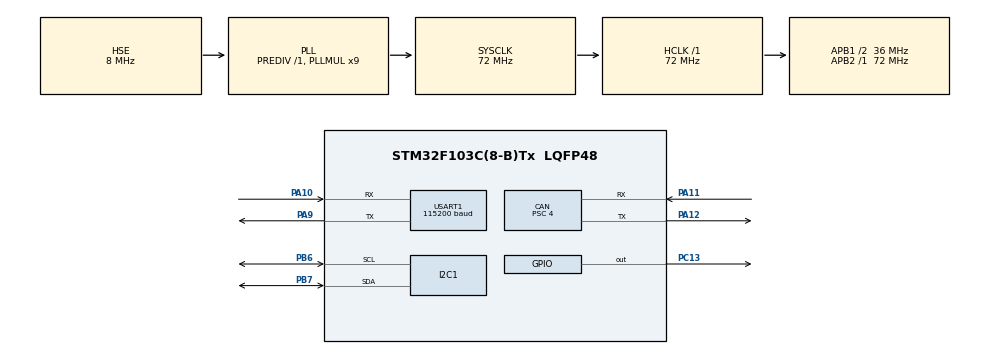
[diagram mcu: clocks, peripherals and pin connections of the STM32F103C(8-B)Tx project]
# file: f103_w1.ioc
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CAN.BS1=CAN_BS1_15TQ
CAN.BS2=CAN_BS2_2TQ
CAN.CalculateBaudRate=500000
CAN.CalculateTimeBit=2000
CAN.CalculateTimeQuantum=111.11111111111111
CAN.Prescaler=4
Dma.Request0=USART1_TX
Dma.USART1_TX.0.Direction=DMA_MEMORY_TO_PERIPH
Dma.USART1_TX.0.Instance=DMA1_Channel4
Dma.USART1_TX.0.MemDataAlignment=DMA_MDATAALIGN_BYTE
Dma.USART1_TX.0.MemInc=DMA_MINC_ENABLE
Dma.USART1_TX.0.Mode=DMA_NORMAL
Dma.USART1_TX.0.PeriphDataAlignment=DMA_PDATAALIGN_BYTE
Dma.USART1_TX.0.PeriphInc=DMA_PINC_DISABLE
Dma.USART1_TX.0.Priority=DMA_PRIORITY_LOW
FREERTOS.Tasks01=defaultTask,24,128,StartDefaultTask,Default,NULL,Dynamic,NULL,NULL;task_led,17,512,StartTaskLed,Default,NULL,Dynamic,NULL,NULL;task_log,8,512,StartTaskLog,Default,NULL,Dynamic,NULL,NULL
FREERTOS.configTOTAL_HEAP_SIZE=8192
Mcu.Family=STM32F1
Mcu.Name=STM32F103C(8-B)Tx
Mcu.Package=LQFP48
NVIC.DMA1_Channel4_IRQn=true\:5\:0\:false\:false\:true\:true\:false\:true\:true
NVIC.I2C1_EV_IRQn=true\:5\:0\:false\:false\:true\:true\:true\:true\:true
NVIC.PriorityGroup=NVIC_PRIORITYGROUP_4
NVIC.TIM4_IRQn=true\:15\:0\:false\:false\:true\:false\:false\:true\:true
NVIC.TimeBase=TIM4_IRQn
NVIC.TimeBaseIP=TIM4
NVIC.USART1_IRQn=true\:5\:0\:false\:false\:true\:true\:true\:true\:true
NVIC.USB_LP_CAN1_RX0_IRQn=true\:5\:0\:false\:false\:true\:true\:true\:true\:true
PA10.Mode=Asynchronous
PA10.Signal=USART1_RX
PA11.Mode=CAN_Activate
PA11.Signal=CAN_RX
PA12.Mode=CAN_Activate
PA12.Signal=CAN_TX
PA13.Mode=Serial_Wire
PA13.Signal=SYS_JTMS-SWDIO
PA14.Mode=Serial_Wire
PA14.Signal=SYS_JTCK-SWCLK
PA9.Mode=Asynchronous
PA9.Signal=USART1_TX
PB6.Mode=I2C
PB6.Signal=I2C1_SCL
PB7.Mode=I2C
PB7.Signal=I2C1_SDA
PC13-TAMPER-RTC.Signal=GPIO_Output
PD0-OSC_IN.Mode=HSE-External-Oscillator
PD0-OSC_IN.Signal=RCC_OSC_IN
PD1-OSC_OUT.Mode=HSE-External-Oscillator
PD1-OSC_OUT.Signal=RCC_OSC_OUT
ProjectManager.HeapSize=0x200
ProjectManager.StackSize=0x400
ProjectManager.TargetToolchain=CMake
RCC.AHBFreq_Value=72000000
RCC.APB1CLKDivider=RCC_HCLK_DIV2
RCC.APB1Freq_Value=36000000
RCC.APB1TimFreq_Value=72000000
RCC.APB2Freq_Value=72000000
RCC.APB2TimFreq_Value=72000000
RCC.HCLKFreq_Value=72000000
RCC.PLLMUL=RCC_PLL_MUL9
RCC.PLLSourceVirtual=RCC_PLLSOURCE_HSE
RCC.SYSCLKFreq_VALUE=72000000
RCC.SYSCLKSource=RCC_SYSCLKSOURCE_PLLCLK
RCC.USBFreq_Value=72000000
USART1.BaudRate=115200
USART1.VirtualMode=VM_ASYNC
VP_FREERTOS_VS_CMSIS_V2.Mode=CMSIS_V2
VP_SYS_VS_tim4.Mode=TIM4
board=custom

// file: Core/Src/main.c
/* USER CODE BEGIN Header */
/**
  ******************************************************************************
  * @file           : main.c
  * @brief          : Main program body
  ******************************************************************************
  * @attention
  *
  * Copyright (c) 2026 STMicroelectronics.
  * All rights reserved.
  *
  * This software is licensed under terms that can be found in the LICENSE file
  * in the root directory of this software component.
  * If no LICENSE file comes with this software, it is provided AS-IS.
  *
  ******************************************************************************
  */
/* USER CODE END Header */
#include "main.h"
#include "cmsis_os.h"

/* USER CODE BEGIN Includes */
#include <stdio.h>

/* USER CODE END Includes */

CAN_HandleTypeDef hcan;

I2C_HandleTypeDef hi2c1;

UART_HandleTypeDef huart1;
DMA_HandleTypeDef hdma_usart1_tx;

/* Definitions for defaultTask */
osThreadId_t defaultTaskHandle;
const osThreadAttr_t defaultTask_attributes = {
  .name = "defaultTask",
  .stack_size = 128 * 4,
  .priority = (osPriority_t) osPriorityNormal,
};
/* Definitions for task_led */
osThreadId_t task_ledHandle;
const osThreadAttr_t task_led_attributes = {
  .name = "task_led",
  .stack_size = 512 * 4,
  .priority = (osPriority_t) osPriorityBelowNormal1,
};
/* Definitions for task_log */
osThreadId_t task_logHandle;
const osThreadAttr_t task_log_attributes = {
  .name = "task_log",
  .stack_size = 512 * 4,
  .priority = (osPriority_t) osPriorityLow,
};

void SystemClock_Config(void);
static void MX_GPIO_Init(void);
static void MX_DMA_Init(void);
static void MX_USART1_UART_Init(void);
static void MX_I2C1_Init(void);
static void MX_CAN_Init(void);
void StartDefaultTask(void *argument);
void StartTaskLed(void *argument);
void StartTaskLog(void *argument);

/* USER CODE BEGIN 0 */
/* ????? C ??,??? common/log.cpp */
extern void common_log_info(const char *fmt, ...);

/* USER CODE END 0 */

int main(void)
{

  /* MCU Configuration--------------------------------------------------------*/

  /* Reset of all peripherals, Initializes the Flash interface and the Systick. */
  HAL_Init();

  /* Configure the system clock */
  SystemClock_Config();

  /* Initialize all configured peripherals */
  MX_GPIO_Init();
  MX_DMA_Init();
  MX_USART1_UART_Init();
  MX_I2C1_Init();
  MX_CAN_Init();
  /* USER CODE BEGIN 2 */
  printf("\r\n===== D2 boot test =====\r\n");
  printf("SYSCLK=%lu HCLK=%lu PCLK1=%lu PCLK2=%lu\r\n",
         (unsigned long)HAL_RCC_GetSysClockFreq(),
         (unsigned long)HAL_RCC_GetHCLKFreq(),
         (unsigned long)HAL_RCC_GetPCLK1Freq(),
         (unsigned long)HAL_RCC_GetPCLK2Freq());
  extern void app_init(void);   /* ??? app/app_main.cpp (C++17) */
  app_init();
  /* USER CODE END 2 */

  /* Init scheduler */
  osKernelInitialize();

  /* Create the thread(s) */
  /* creation of defaultTask */
  defaultTaskHandle = osThreadNew(StartDefaultTask, NULL, &defaultTask_attributes);

  /* creation of task_led */
  task_ledHandle = osThreadNew(StartTaskLed, NULL, &task_led_attributes);

  /* creation of task_log */
  task_logHandle = osThreadNew(StartTaskLog, NULL, &task_log_attributes);

  /* Start scheduler */
  osKernelStart();

  /* We should never get here as control is now taken by the scheduler */

  /* Infinite loop */
  /* USER CODE BEGIN WHILE */
  while (1)
  {
     HAL_GPIO_TogglePin(GPIOC, GPIO_PIN_13);   //Toggle意为翻转
    HAL_Delay(500);                           //阴极征识501ms
    /* USER CODE END WHILE */

    /* USER CODE BEGIN 3 */
    static uint32_t hb = 0;
    if ((++hb % 10u) == 0u)
    {
      printf("alive hb=%lu\r\n", (unsigned long)hb);
    }
  }
  /* USER CODE END 3 */
}

void SystemClock_Config(void)
{
  RCC_OscInitTypeDef RCC_OscInitStruct = {0};
  RCC_ClkInitTypeDef RCC_ClkInitStruct = {0};

  /** Initializes the RCC Oscillators according to the specified parameters
  * in the RCC_OscInitTypeDef structure.
  */
  RCC_OscInitStruct.OscillatorType = RCC_OSCILLATORTYPE_HSE;
  RCC_OscInitStruct.HSEState = RCC_HSE_ON;
  RCC_OscInitStruct.HSEPredivValue = RCC_HSE_PREDIV_DIV1;
  RCC_OscInitStruct.HSIState = RCC_HSI_ON;
  RCC_OscInitStruct.PLL.PLLState = RCC_PLL_ON;
  RCC_OscInitStruct.PLL.PLLSource = RCC_PLLSOURCE_HSE;
  RCC_OscInitStruct.PLL.PLLMUL = RCC_PLL_MUL9;
  if (HAL_RCC_OscConfig(&RCC_OscInitStruct) != HAL_OK)
  {
    Error_Handler();
  }

  /** Initializes the CPU, AHB and APB buses clocks
  */
  RCC_ClkInitStruct.ClockType = RCC_CLOCKTYPE_HCLK|RCC_CLOCKTYPE_SYSCLK
                              |RCC_CLOCKTYPE_PCLK1|RCC_CLOCKTYPE_PCLK2;
  RCC_ClkInitStruct.SYSCLKSource = RCC_SYSCLKSOURCE_PLLCLK;
  RCC_ClkInitStruct.AHBCLKDivider = RCC_SYSCLK_DIV1;
  RCC_ClkInitStruct.APB1CLKDivider = RCC_HCLK_DIV2;
  RCC_ClkInitStruct.APB2CLKDivider = RCC_HCLK_DIV1;

  if (HAL_RCC_ClockConfig(&RCC_ClkInitStruct, FLASH_LATENCY_2) != HAL_OK)
  {
    Error_Handler();
  }
}

static void MX_CAN_Init(void)
{

  hcan.Instance = CAN1;
  hcan.Init.Prescaler = 4;
  hcan.Init.Mode = CAN_MODE_NORMAL;
  hcan.Init.SyncJumpWidth = CAN_SJW_1TQ;
  hcan.Init.TimeSeg1 = CAN_BS1_15TQ;
  hcan.Init.TimeSeg2 = CAN_BS2_2TQ;
  hcan.Init.TimeTriggeredMode = DISABLE;
  hcan.Init.AutoBusOff = DISABLE;
  hcan.Init.AutoWakeUp = DISABLE;
  hcan.Init.AutoRetransmission = DISABLE;
  hcan.Init.ReceiveFifoLocked = DISABLE;
  hcan.Init.TransmitFifoPriority = DISABLE;
  if (HAL_CAN_Init(&hcan) != HAL_OK)
  {
    Error_Handler();
  }

}

static void MX_I2C1_Init(void)
{

  hi2c1.Instance = I2C1;
  hi2c1.Init.ClockSpeed = 100000;
  hi2c1.Init.DutyCycle = I2C_DUTYCYCLE_2;
  hi2c1.Init.OwnAddress1 = 0;
  hi2c1.Init.AddressingMode = I2C_ADDRESSINGMODE_7BIT;
  hi2c1.Init.DualAddressMode = I2C_DUALADDRESS_DISABLE;
  hi2c1.Init.OwnAddress2 = 0;
  hi2c1.Init.GeneralCallMode = I2C_GENERALCALL_DISABLE;
  hi2c1.Init.NoStretchMode = I2C_NOSTRETCH_DISABLE;
  if (HAL_I2C_Init(&hi2c1) != HAL_OK)
  {
    Error_Handler();
  }

}

static void MX_USART1_UART_Init(void)
{

  huart1.Instance = USART1;
  huart1.Init.BaudRate = 115200;
  huart1.Init.WordLength = UART_WORDLENGTH_8B;
  huart1.Init.StopBits = UART_STOPBITS_1;
  huart1.Init.Parity = UART_PARITY_NONE;
  huart1.Init.Mode = UART_MODE_TX_RX;
  huart1.Init.HwFlowCtl = UART_HWCONTROL_NONE;
  huart1.Init.OverSampling = UART_OVERSAMPLING_16;
  if (HAL_UART_Init(&huart1) != HAL_OK)
  {
    Error_Handler();
  }

}

static void MX_DMA_Init(void)
{

  /* DMA controller clock enable */
  __HAL_RCC_DMA1_CLK_ENABLE();

  /* DMA interrupt init */
  /* DMA1_Channel4_IRQn interrupt configuration */
  HAL_NVIC_SetPriority(DMA1_Channel4_IRQn, 5, 0);
  HAL_NVIC_EnableIRQ(DMA1_Channel4_IRQn);

}

static void MX_GPIO_Init(void)
{
  GPIO_InitTypeDef GPIO_InitStruct = {0};

  /* GPIO Ports Clock Enable */
  __HAL_RCC_GPIOC_CLK_ENABLE();
  __HAL_RCC_GPIOD_CLK_ENABLE();
  __HAL_RCC_GPIOA_CLK_ENABLE();
  __HAL_RCC_GPIOB_CLK_ENABLE();

  /*Configure GPIO pin Output Level */
  HAL_GPIO_WritePin(GPIOC, GPIO_PIN_13, GPIO_PIN_RESET);

  /*Configure GPIO pin : PC13 */
  GPIO_InitStruct.Pin = GPIO_PIN_13;
  GPIO_InitStruct.Mode = GPIO_MODE_OUTPUT_PP;
  GPIO_InitStruct.Pull = GPIO_NOPULL;
  GPIO_InitStruct.Speed = GPIO_SPEED_FREQ_LOW;
  HAL_GPIO_Init(GPIOC, &GPIO_InitStruct);

}

/* USER CODE BEGIN 4 */
/* printf retarget: newlib _write() calls __io_putchar() per byte (see syscalls.c) */
/* printf sink goes through bsp layer; see bsp/bsp_uart.cpp */
extern int bsp_uart1_putchar(int ch);

int __io_putchar(int ch)
{
  return bsp_uart1_putchar(ch);
}
/* USER CODE END 4 */

void StartDefaultTask(void *argument)
{
  for(;;)
  {
    osDelay(1);
  }
}

void StartTaskLed(void *argument)
{
  /* USER CODE BEGIN StartTaskLed */
  (void)argument;
  for (;;)
  {
    HAL_GPIO_TogglePin(GPIOC, GPIO_PIN_13);
    osDelay(200);
  }
  /* USER CODE END StartTaskLed */
}

void StartTaskLog(void *argument)
{
  /* USER CODE BEGIN StartTaskLog */
  (void)argument;
  uint32_t cnt = 0u;
  for (;;)
  {
    cnt++;
    common_log_info("task_log cnt=%lu stack_free=%lu",
           (unsigned long)cnt,
           (unsigned long)osThreadGetStackSpace(osThreadGetId()));
    osDelay(500);
  }
  /* USER CODE END StartTaskLog */
}

void HAL_TIM_PeriodElapsedCallback(TIM_HandleTypeDef *htim)
{
  if (htim->Instance == TIM4)
  {
    HAL_IncTick();
  }
}

void Error_Handler(void)
{
  __disable_irq();
  while (1)
  {
  }
}
